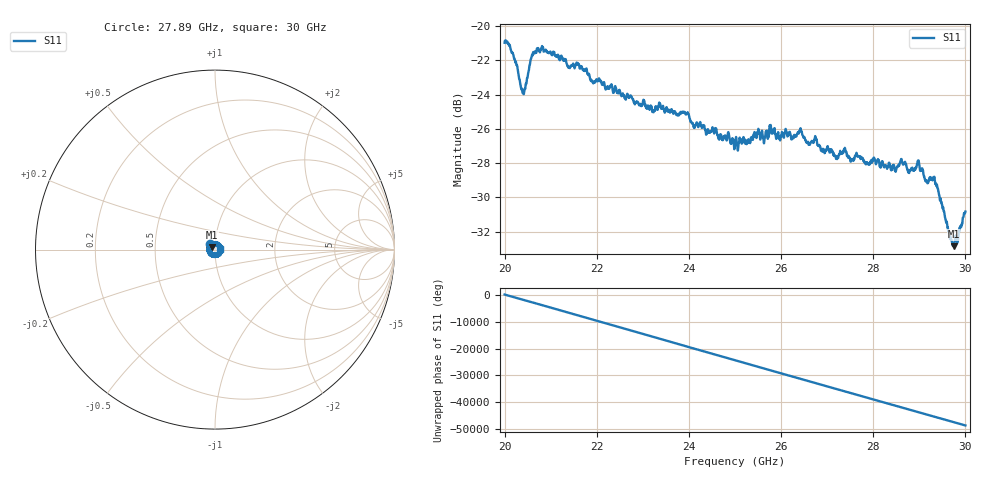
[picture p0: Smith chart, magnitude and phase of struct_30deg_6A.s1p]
#  HZ  S  RI  R  50.00
! Rohde & Schwarz ZVA40 4Ports - Version 3.90 - 1145.1110k42 SN: 100403
! Date: 2023-09-30 07:34:00
! Measurement: S12
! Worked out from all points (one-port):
!   5001 points, 20 GHz to 30 GHz, reference 50 ohm
!   lowest |S11| = -32.8 dB at 29.74 GHz (marker M1), VSWR 1.05, Z = 48.2 + j1.35 ohm
!   |S11| at or under -10 dB: start of sweep to end of sweep
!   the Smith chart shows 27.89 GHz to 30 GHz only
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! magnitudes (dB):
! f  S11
! 20 GHz  -21.0
! 20.15 GHz  -21.6
! 20.4 GHz  -23.8
! 20.58 GHz  -21.8
! 20.69 GHz  -21.6
! 21.25 GHz  -21.9
! 22.5 GHz  -23.8
! 23.75 GHz  -25.2
! 23.94 GHz  -25.1
! 24.1 GHz  -25.9
! 25 GHz  -27.0
! 25.79 GHz  -26.3
! 26.25 GHz  -26.5
! 26.41 GHz  -26.1
! 26.59 GHz  -26.8
! 26.73 GHz  -26.6
! 27.2 GHz  -27.7
! 27.38 GHz  -27.2
! 27.5 GHz  -27.7
! 28.44 GHz  -28.1
! 28.64 GHz  -28.1
! 28.75 GHz  -28.4
! 28.97 GHz  -27.9
! 29.16 GHz  -29.0
! 29.34 GHz  -29.1
! 29.68 GHz  -32.3
! 29.74 GHz  -32.8
! 30 GHz  -30.8
